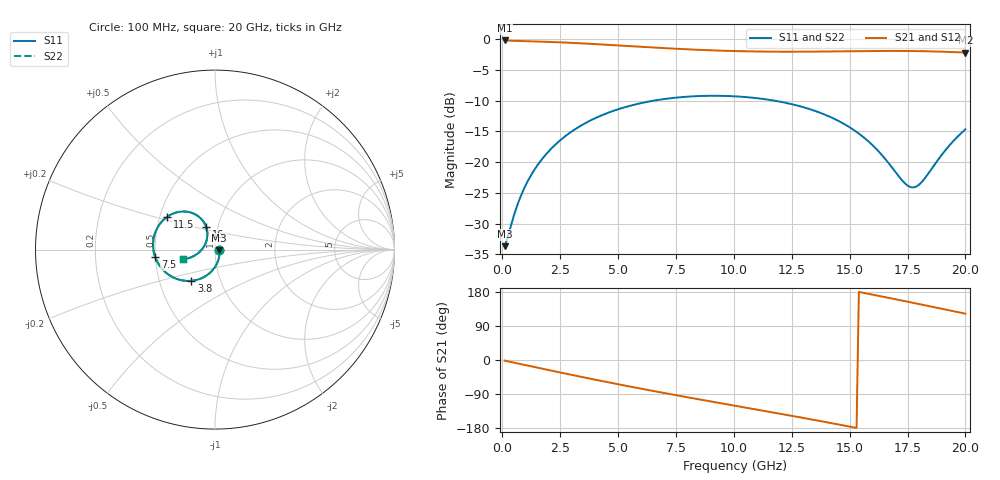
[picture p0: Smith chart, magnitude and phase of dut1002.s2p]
! Touchstone file exported from HFSS 2026.1.0
!  File:  C:/ffzhzh/LocalFiles/Ansys_Project_Files/temp_train_TSV_RDL_1002_1783290270_30076.aedt
!  Generated:  06:30:03 AM Jul  6, 2026
!  Design:  TSV_RDL
!  Project:  temp_train_TSV_RDL_1002_1783290270_30076
! Variables:
!  h_bsmrdl = 5.52um
!  h_ox = 20um
!  h_rdl = 5um
!  h_sub = 57.49um
!  h_tmrdl = 4um
!  h_tsv = 57.49um
!  h_via = 3um
!  l_bsmrdl = 572.04um
!  l_sub = 3599.41um
!  l_tmrdl = 351.03um
!  m_sub = 200um
!  pitch = 16.81um
!  r_tsv = 7.37um
!  s_tmrdl = 10um
!  w_bsmrdl = 15.65um
!  w_sub = 500um
!  w_tmrdl = 10.74um
!  x_tsv_center1 = 356.4um
!  x_tsv_center2 = 944.09um
!  x_tsv_center3 = 1305.86um
!  x_tsv_center4 = 1893.55um
!  x_tsv_center5 = 2255.32um
!  x_tsv_center6 = 2843.01um
# GHz S MA R 50.000000
! Terminal data exported
! Port[1] = TM_RDL1_1_T1
! Port[2] = TM_RDL5_1_T1
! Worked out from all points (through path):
!   200 points, 100 MHz to 20 GHz, reference 50 ohm
!   highest |S21| = -0.18 dB at 100 MHz (marker M1); lowest = -2.2 dB at 20 GHz (marker M2)
!   group delay of S21, straight-line fit = 32 ps
!   lowest |S11| = -33.7 dB at 100 MHz (marker M3), VSWR 1.04, Z = 52.1 - j0.393 ohm
!   |S11| at or under -10 dB: start of sweep to 6.51 GHz; 11.78 GHz to end of sweep
!   |S22| runs from -33.7 to -9.2 dB; largest |S21 - S12| = 3.4e-14
!   S11 on the Smith chart (normalised r, x): 100 MHz: 1.04, -0.01; 3.8 GHz: 0.73, -0.27; 7.5 GHz: 0.50, -0.05; 11.5 GHz: 0.55, +0.22; 16 GHz: 0.88, +0.23; 20 GHz: 0.70, -0.08
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0.1  0.02072 -10.5  0.9795 -1.5  0.9795 -1.5  0.02072 -10.5
! Gamma 0 0 0 0
! Port Impedance 50 0 50 0
0.5  0.03675 -49.0  0.9724 -7.0  0.9724 -7.0  0.03675 -49.0
0.8  0.05298 -66.3  0.9688 -10.9  0.9688 -10.9  0.05298 -66.3
1.4  0.08755 -86.2  0.9621 -18.7  0.9621 -18.7  0.08755 -86.2
2.3  0.1395 -104.4  0.9491 -30.4  0.9491 -30.4  0.1395 -104.4
3.5  0.2036 -122.9  0.9262 -45.6  0.9262 -45.6  0.2036 -122.9
3.8  0.2182 -127.1  0.9198 -49.4  0.9198 -49.4  0.2182 -127.1
5.3  0.2805 -146.7  0.8855 -67.6  0.8855 -67.6  0.2805 -146.7
6.8  0.3228 -164.7  0.8523 -85.0  0.8523 -85.0  0.3228 -164.7
7.5  0.3354 -172.7  0.8384 -92.9  0.8384 -92.9  0.3353 -172.7
8.8  0.3469 173.1  0.8172 -107.2  0.8172 -107.2  0.3469 173.0
10.1  0.3432 159.4  0.8025 -121.3  0.8025 -121.3  0.3432 159.4
11.5  0.3225 145.3  0.7944 -136.4  0.7944 -136.4  0.3225 145.2
13.4  0.2657 127.2  0.7944 -157.3  0.7944 -157.3  0.2657 127.2
14.8  0.2028 116.0  0.7993 -173.4  0.7993 -173.4  0.2028 116.0
16  0.137 111.4  0.8035 172.4  0.8035 172.4  0.137 111.3
16.7  0.09743 115.8  0.8047 163.8  0.8047 163.8  0.09739 115.8
17.5  0.06456 141.3  0.8039 153.9  0.8039 153.9  0.0645 141.2
17.9  0.06366 163.7  0.8024 148.9  0.8024 148.9  0.06359 163.7
18.2  0.07201 178.3  0.8007 145.1  0.8007 145.1  0.07194 178.2
19.3  0.1363 -162.3  0.7903 131.1  0.7903 131.1  0.1362 -162.3
20  0.185 -163.2  0.7801 122.3  0.7801 122.3  0.185 -163.2
